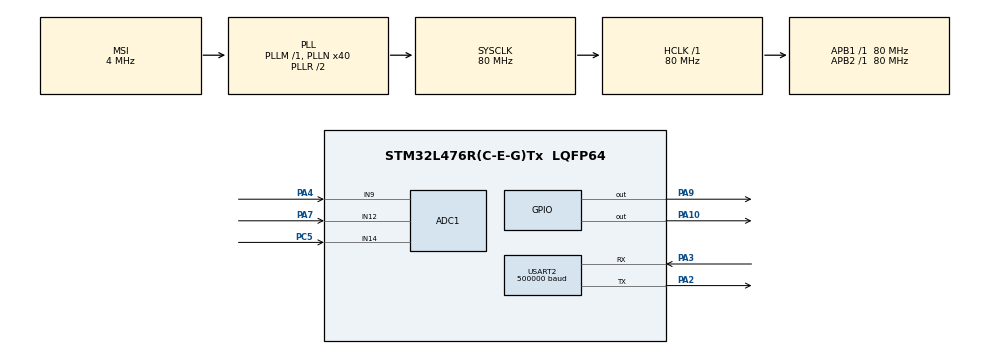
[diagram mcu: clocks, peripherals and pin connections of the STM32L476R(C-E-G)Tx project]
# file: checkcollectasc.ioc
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ADC1.Channel-0\#ChannelRegularConversion=ADC_CHANNEL_9
ADC1.Channel-1\#ChannelRegularConversion=ADC_CHANNEL_12
ADC1.Channel-2\#ChannelRegularConversion=ADC_CHANNEL_14
ADC1.DMAContinuousRequests=ENABLE
ADC1.ExternalTrigConv=ADC_EXTERNALTRIG_T3_TRGO
ADC1.NbrOfConversion=3
ADC1.NbrOfConversionFlag=1
ADC1.OffsetNumber-0\#ChannelRegularConversion=ADC_OFFSET_NONE
ADC1.OffsetNumber-1\#ChannelRegularConversion=ADC_OFFSET_NONE
ADC1.OffsetNumber-2\#ChannelRegularConversion=ADC_OFFSET_NONE
ADC1.Rank-0\#ChannelRegularConversion=1
ADC1.Rank-1\#ChannelRegularConversion=2
ADC1.Rank-2\#ChannelRegularConversion=3
ADC1.SamplingTime-0\#ChannelRegularConversion=ADC_SAMPLETIME_2CYCLES_5
ADC1.SamplingTime-1\#ChannelRegularConversion=ADC_SAMPLETIME_2CYCLES_5
ADC1.SamplingTime-2\#ChannelRegularConversion=ADC_SAMPLETIME_2CYCLES_5
ADC1.master=1
Dma.ADC1.0.Direction=DMA_PERIPH_TO_MEMORY
Dma.ADC1.0.Instance=DMA1_Channel1
Dma.ADC1.0.MemDataAlignment=DMA_MDATAALIGN_WORD
Dma.ADC1.0.MemInc=DMA_MINC_ENABLE
Dma.ADC1.0.Mode=DMA_CIRCULAR
Dma.ADC1.0.PeriphDataAlignment=DMA_PDATAALIGN_WORD
Dma.ADC1.0.PeriphInc=DMA_PINC_DISABLE
Dma.ADC1.0.Priority=DMA_PRIORITY_HIGH
Dma.Request0=ADC1
Mcu.Family=STM32L4
Mcu.Name=STM32L476R(C-E-G)Tx
Mcu.Package=LQFP64
NVIC.DMA1_Channel1_IRQn=true\:0\:0\:false\:false\:true\:false\:true\:true
NVIC.PriorityGroup=NVIC_PRIORITYGROUP_4
NVIC.USART2_IRQn=true\:0\:0\:false\:false\:true\:true\:true\:true
PA10.GPIO_Speed=GPIO_SPEED_FREQ_VERY_HIGH
PA10.Signal=GPIO_Output
PA2.Mode=Asynchronous
PA2.Signal=USART2_TX
PA3.Mode=Asynchronous
PA3.Signal=USART2_RX
PA4.Signal=ADCx_IN9
PA7.Signal=ADCx_IN12
PA9.GPIO_Speed=GPIO_SPEED_FREQ_VERY_HIGH
PA9.Signal=GPIO_Output
PC0.Signal=ADCx_IN1
PC1.Signal=ADCx_IN2
PC2.Signal=ADCx_IN3
PC5.Signal=ADCx_IN14
ProjectManager.HeapSize=0x200
ProjectManager.StackSize=0x400
ProjectManager.TargetToolchain=STM32CubeIDE
RCC.ADCFreq_Value=32000000
RCC.AHBFreq_Value=80000000
RCC.APB1Freq_Value=80000000
RCC.APB1TimFreq_Value=80000000
RCC.APB2Freq_Value=80000000
RCC.APB2TimFreq_Value=80000000
RCC.CortexFreq_Value=80000000
RCC.HCLKFreq_Value=80000000
RCC.HSE_VALUE=8000000
RCC.HSI_VALUE=16000000
RCC.LSE_VALUE=32768
RCC.MSI_VALUE=4000000
RCC.PLLN=40
RCC.PLLSAI1N=16
RCC.SYSCLKFreq_VALUE=80000000
RCC.SYSCLKSource=RCC_SYSCLKSOURCE_PLLCLK
RCC.USBFreq_Value=32000000
RCC.VCOOutputFreq_Value=160000000
SH.ADCx_IN1.0=ADC1_IN1
SH.ADCx_IN12.0=ADC1_IN12,IN12-Single-Ended
SH.ADCx_IN14.0=ADC1_IN14,IN14-Single-Ended
SH.ADCx_IN2.0=ADC1_IN2
SH.ADCx_IN3.0=ADC1_IN3
SH.ADCx_IN9.0=ADC1_IN9,IN9-Single-Ended
TIM3.Period=999
TIM3.Prescaler=79
TIM3.TIM_MasterOutputTrigger=TIM_TRGO_UPDATE
USART2.BaudRate=500000
USART2.VirtualMode-Asynchronous=VM_ASYNC
VP_TIM3_VS_ClockSourceINT.Mode=Internal
board=custom

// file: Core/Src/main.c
/* USER CODE BEGIN Header */
/**
  ******************************************************************************
  * @file           : main.c
  * @brief          : Main program body
  ******************************************************************************
  * @attention
  *
  * Copyright (c) 2025 STMicroelectronics.
  * All rights reserved.
  *
  * This software is licensed under terms that can be found in the LICENSE file
  * in the root directory of this software component.
  * If no LICENSE file comes with this software, it is provided AS-IS.
  *
  ******************************************************************************
  */
/* USER CODE END Header */
#include "main.h"

/* USER CODE BEGIN Includes */
#include <string.h>
#include <stdio.h>
#include <stdio.h>
#include <stdlib.h>
#include <string.h>
#include <errno.h>
#include <fcntl.h>
#include <time.h>
#include <assert.h>
#include <math.h>

/* USER CODE END Includes */

ADC_HandleTypeDef hadc1;
DMA_HandleTypeDef hdma_adc1;
TIM_HandleTypeDef htim3;
UART_HandleTypeDef huart2;

void SystemClock_Config(void);
static void MX_GPIO_Init(void);
static void MX_DMA_Init(void);
static void MX_ADC1_Init(void);
static void MX_TIM3_Init(void);
static void MX_USART2_UART_Init(void);

/* USER CODE BEGIN 0 */
uint32_t ADC_VAL[300];
uint8_t UART2_rxBuffer;
uint32_t indext = 0;
int indextemp=0;

#define TESTDATA_SIZE 1000
float TestData[TESTDATA_SIZE];

/* USER CODE END 0 */

int main(void)
{

  /* MCU Configuration--------------------------------------------------------*/

  /* Reset of all peripherals, Initializes the Flash interface and the Systick. */
  HAL_Init();

  /* Configure the system clock */
  SystemClock_Config();

  /* Initialize all configured peripherals */
  MX_GPIO_Init();
  MX_DMA_Init();
  MX_ADC1_Init();
  MX_TIM3_Init();
  MX_USART2_UART_Init();
  /* USER CODE BEGIN 2 */
  HAL_UART_Receive_IT (&huart2, &UART2_rxBuffer, 1);
  //HAL_TIM_Base_Start(&htim3);
  //HAL_ADC_Start_DMA(&hadc1,ADC_VAL, 3);

  /* USER CODE END 2 */

  /* Infinite loop */
  while (1)
  {

  }
}

void SystemClock_Config(void)
{
  RCC_OscInitTypeDef RCC_OscInitStruct = {0};
  RCC_ClkInitTypeDef RCC_ClkInitStruct = {0};

  /** Configure the main internal regulator output voltage
  */
  if (HAL_PWREx_ControlVoltageScaling(PWR_REGULATOR_VOLTAGE_SCALE1) != HAL_OK)
  {
    Error_Handler();
  }

  /** Initializes the RCC Oscillators according to the specified parameters
  * in the RCC_OscInitTypeDef structure.
  */
  RCC_OscInitStruct.OscillatorType = RCC_OSCILLATORTYPE_MSI;
  RCC_OscInitStruct.MSIState = RCC_MSI_ON;
  RCC_OscInitStruct.MSICalibrationValue = 0;
  RCC_OscInitStruct.MSIClockRange = RCC_MSIRANGE_6;
  RCC_OscInitStruct.PLL.PLLState = RCC_PLL_ON;
  RCC_OscInitStruct.PLL.PLLSource = RCC_PLLSOURCE_MSI;
  RCC_OscInitStruct.PLL.PLLM = 1;
  RCC_OscInitStruct.PLL.PLLN = 40;
  RCC_OscInitStruct.PLL.PLLP = RCC_PLLP_DIV7;
  RCC_OscInitStruct.PLL.PLLQ = RCC_PLLQ_DIV2;
  RCC_OscInitStruct.PLL.PLLR = RCC_PLLR_DIV2;
  if (HAL_RCC_OscConfig(&RCC_OscInitStruct) != HAL_OK)
  {
    Error_Handler();
  }

  /** Initializes the CPU, AHB and APB buses clocks
  */
  RCC_ClkInitStruct.ClockType = RCC_CLOCKTYPE_HCLK|RCC_CLOCKTYPE_SYSCLK
                              |RCC_CLOCKTYPE_PCLK1|RCC_CLOCKTYPE_PCLK2;
  RCC_ClkInitStruct.SYSCLKSource = RCC_SYSCLKSOURCE_PLLCLK;
  RCC_ClkInitStruct.AHBCLKDivider = RCC_SYSCLK_DIV1;
  RCC_ClkInitStruct.APB1CLKDivider = RCC_HCLK_DIV1;
  RCC_ClkInitStruct.APB2CLKDivider = RCC_HCLK_DIV1;

  if (HAL_RCC_ClockConfig(&RCC_ClkInitStruct, FLASH_LATENCY_4) != HAL_OK)
  {
    Error_Handler();
  }
}

static void MX_ADC1_Init(void)
{

  ADC_MultiModeTypeDef multimode = {0};
  ADC_ChannelConfTypeDef sConfig = {0};

  /** Common config
  */
  hadc1.Instance = ADC1;
  hadc1.Init.ClockPrescaler = ADC_CLOCK_ASYNC_DIV1;
  hadc1.Init.Resolution = ADC_RESOLUTION_12B;
  hadc1.Init.DataAlign = ADC_DATAALIGN_RIGHT;
  hadc1.Init.ScanConvMode = ADC_SCAN_ENABLE;
  hadc1.Init.EOCSelection = ADC_EOC_SINGLE_CONV;
  hadc1.Init.LowPowerAutoWait = DISABLE;
  hadc1.Init.ContinuousConvMode = DISABLE;
  hadc1.Init.NbrOfConversion = 3;
  hadc1.Init.DiscontinuousConvMode = DISABLE;
  hadc1.Init.ExternalTrigConv = ADC_EXTERNALTRIG_T3_TRGO;
  hadc1.Init.ExternalTrigConvEdge = ADC_EXTERNALTRIGCONVEDGE_RISING;
  hadc1.Init.DMAContinuousRequests = ENABLE;
  hadc1.Init.Overrun = ADC_OVR_DATA_PRESERVED;
  hadc1.Init.OversamplingMode = DISABLE;
  if (HAL_ADC_Init(&hadc1) != HAL_OK)
  {
    Error_Handler();
  }

  /** Configure the ADC multi-mode
  */
  multimode.Mode = ADC_MODE_INDEPENDENT;
  if (HAL_ADCEx_MultiModeConfigChannel(&hadc1, &multimode) != HAL_OK)
  {
    Error_Handler();
  }

  /** Configure Regular Channel
  */
  sConfig.Channel = ADC_CHANNEL_9;
  sConfig.Rank = ADC_REGULAR_RANK_1;
  sConfig.SamplingTime = ADC_SAMPLETIME_2CYCLES_5;
  sConfig.SingleDiff = ADC_SINGLE_ENDED;
  sConfig.OffsetNumber = ADC_OFFSET_NONE;
  sConfig.Offset = 0;
  if (HAL_ADC_ConfigChannel(&hadc1, &sConfig) != HAL_OK)
  {
    Error_Handler();
  }

  /** Configure Regular Channel
  */
  sConfig.Channel = ADC_CHANNEL_12;
  sConfig.Rank = ADC_REGULAR_RANK_2;
  if (HAL_ADC_ConfigChannel(&hadc1, &sConfig) != HAL_OK)
  {
    Error_Handler();
  }

  /** Configure Regular Channel
  */
  sConfig.Channel = ADC_CHANNEL_14;
  sConfig.Rank = ADC_REGULAR_RANK_3;
  if (HAL_ADC_ConfigChannel(&hadc1, &sConfig) != HAL_OK)
  {
    Error_Handler();
  }

}

static void MX_TIM3_Init(void)
{

  TIM_ClockConfigTypeDef sClockSourceConfig = {0};
  TIM_MasterConfigTypeDef sMasterConfig = {0};

  htim3.Instance = TIM3;
  htim3.Init.Prescaler = 79;
  htim3.Init.CounterMode = TIM_COUNTERMODE_UP;
  htim3.Init.Period = 999;
  htim3.Init.ClockDivision = TIM_CLOCKDIVISION_DIV1;
  htim3.Init.AutoReloadPreload = TIM_AUTORELOAD_PRELOAD_DISABLE;
  if (HAL_TIM_Base_Init(&htim3) != HAL_OK)
  {
    Error_Handler();
  }
  sClockSourceConfig.ClockSource = TIM_CLOCKSOURCE_INTERNAL;
  if (HAL_TIM_ConfigClockSource(&htim3, &sClockSourceConfig) != HAL_OK)
  {
    Error_Handler();
  }
  sMasterConfig.MasterOutputTrigger = TIM_TRGO_UPDATE;
  sMasterConfig.MasterSlaveMode = TIM_MASTERSLAVEMODE_DISABLE;
  if (HAL_TIMEx_MasterConfigSynchronization(&htim3, &sMasterConfig) != HAL_OK)
  {
    Error_Handler();
  }

}

static void MX_USART2_UART_Init(void)
{

  huart2.Instance = USART2;
  huart2.Init.BaudRate = 500000;
  huart2.Init.WordLength = UART_WORDLENGTH_8B;
  huart2.Init.StopBits = UART_STOPBITS_1;
  huart2.Init.Parity = UART_PARITY_NONE;
  huart2.Init.Mode = UART_MODE_TX_RX;
  huart2.Init.HwFlowCtl = UART_HWCONTROL_NONE;
  huart2.Init.OverSampling = UART_OVERSAMPLING_16;
  huart2.Init.OneBitSampling = UART_ONE_BIT_SAMPLE_DISABLE;
  huart2.AdvancedInit.AdvFeatureInit = UART_ADVFEATURE_NO_INIT;
  if (HAL_UART_Init(&huart2) != HAL_OK)
  {
    Error_Handler();
  }

}

static void MX_DMA_Init(void)
{

  /* DMA controller clock enable */
  __HAL_RCC_DMA1_CLK_ENABLE();

  /* DMA interrupt init */
  /* DMA1_Channel1_IRQn interrupt configuration */
  HAL_NVIC_SetPriority(DMA1_Channel1_IRQn, 0, 0);
  HAL_NVIC_EnableIRQ(DMA1_Channel1_IRQn);

}

static void MX_GPIO_Init(void)
{
  GPIO_InitTypeDef GPIO_InitStruct = {0};

  /* GPIO Ports Clock Enable */
  __HAL_RCC_GPIOC_CLK_ENABLE();
  __HAL_RCC_GPIOA_CLK_ENABLE();

  /*Configure GPIO pin Output Level */
  HAL_GPIO_WritePin(GPIOA, GPIO_PIN_9|GPIO_PIN_10, GPIO_PIN_RESET);

  /*Configure GPIO pins : PA9 PA10 */
  GPIO_InitStruct.Pin = GPIO_PIN_9|GPIO_PIN_10;
  GPIO_InitStruct.Mode = GPIO_MODE_OUTPUT_PP;
  GPIO_InitStruct.Pull = GPIO_NOPULL;
  GPIO_InitStruct.Speed = GPIO_SPEED_FREQ_VERY_HIGH;
  HAL_GPIO_Init(GPIOA, &GPIO_InitStruct);

}

/* USER CODE BEGIN 4 */

void HAL_UART_RxCpltCallback(UART_HandleTypeDef *huart)
{

    char message[] = "Character received: ";
    HAL_UART_Transmit(&huart2, (uint8_t *)message, strlen(message), 100);  // Send message
    HAL_UART_Transmit(&huart2, &UART2_rxBuffer, 1, 100);  // Send received character
    HAL_UART_Transmit(&huart2, (uint8_t *)"\r\n", 2, 100);  // Newline for readability
    //Restart reception for the next character

    if (UART2_rxBuffer == 'a'){
    		HAL_TIM_Base_Start(&htim3);
    		HAL_ADC_Start_DMA(&hadc1,ADC_VAL, 300);

    }
	else if (UART2_rxBuffer == 's'){
		HAL_TIM_Base_Stop(&htim3);
		HAL_ADC_Stop_DMA(&hadc1);
	}

    HAL_UART_Receive_IT(&huart2, &UART2_rxBuffer, 1);

}

void HAL_ADC_ConvHalfCpltCallback(ADC_HandleTypeDef *hadc)
{
    uint32_t current_index = indext;

    // Store the first 150 ADC samples into the circular buffer
    for (int i = 0; i < 150; i++)
    {
        TestData[(current_index + i) % TESTDATA_SIZE] = (float)ADC_VAL[i];
    }

    char message[20]; // Enough for 3 integers + commas + newline

    for (int i = 0; i < 150; i += 3)
    {
        if (i + 2 < 150)
        {
            // Format and send 3 values at a time
            sprintf(message, "%d,%d,%d\r\n",
                    (int)TestData[(current_index + i) % TESTDATA_SIZE],
                    (int)TestData[(current_index + i + 1) % TESTDATA_SIZE],
                    (int)TestData[(current_index + i + 2) % TESTDATA_SIZE]);

            HAL_UART_Transmit(&huart2, (uint8_t *)message, strlen(message), HAL_MAX_DELAY);
        }
    }

    // Advance circular buffer index
    indext = (indext + 150) % TESTDATA_SIZE;
}

void HAL_ADC_ConvCpltCallback(ADC_HandleTypeDef *hadc)
{

    uint32_t current_index = indext;

    // Store 150 ADC values (from index 150 to 299) in TestData circular buffer
    for (int i = 0; i < 150; i++)
    {
        TestData[(current_index + i) % TESTDATA_SIZE] = (float)ADC_VAL[i + 150];
    }

    char message[20]; // Buffer for transmitting 3 values as comma-separated text
    for (int i = 0; i < 150; i += 3)
    {
        if (i + 2 < 150)
        {
            // Just send the values without any labels
            sprintf(message, "%d,%d,%d\r\n",
                    (int)TestData[(current_index + i) % TESTDATA_SIZE],
                    (int)TestData[(current_index + i + 1) % TESTDATA_SIZE],
                    (int)TestData[(current_index + i + 2) % TESTDATA_SIZE]);

            HAL_UART_Transmit(&huart2, (uint8_t *)message, strlen(message), HAL_MAX_DELAY);
        }
    }
    // Update circular buffer index
    indext = (indext + 150) % TESTDATA_SIZE;

}

/* USER CODE END 4 */

void Error_Handler(void)
{
  __disable_irq();
  while (1)
  {
  }
}
